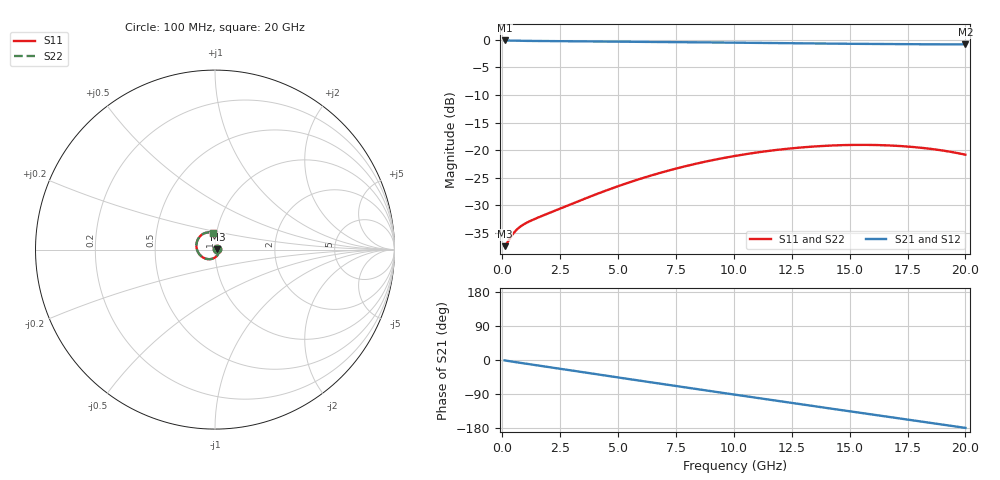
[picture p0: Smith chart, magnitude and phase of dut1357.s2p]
! Touchstone file exported from HFSS 2026.1.0
!  File:  C:/ffzhzh/LocalFiles/Ansys_Project_Files/temp_train_TSV_RDL_1357_1783341718_38820.aedt
!  Generated:  08:50:04 PM Jul  6, 2026
!  Design:  TSV_RDL
!  Project:  temp_train_TSV_RDL_1357_1783341718_38820
! Variables:
!  h_bsmrdl = 3.15um
!  h_ox = 20um
!  h_rdl = 5um
!  h_sub = 76.59um
!  h_tmrdl = 3.28um
!  h_tsv = 76.59um
!  h_via = 3um
!  l_bsmrdl = 568.16um
!  l_sub = 2821.97um
!  l_tmrdl = 148.75um
!  m_sub = 200um
!  pitch = 27.86um
!  r_tsv = 10.72um
!  s_tmrdl = 10um
!  w_bsmrdl = 24.53um
!  w_sub = 500um
!  w_tmrdl = 16.3um
!  x_tsv_center1 = 156.9um
!  x_tsv_center2 = 749.59um
!  x_tsv_center3 = 914.64um
!  x_tsv_center4 = 1507.33um
!  x_tsv_center5 = 1672.38um
!  x_tsv_center6 = 2265.07um
# GHz S MA R 50.000000
! Terminal data exported
! Port[1] = TM_RDL1_1_T1
! Port[2] = TM_RDL5_1_T1
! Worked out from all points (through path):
!   200 points, 100 MHz to 20 GHz, reference 50 ohm
!   highest |S21| = -0.12 dB at 100 MHz (marker M1); lowest = -0.8 dB at 20 GHz (marker M2)
!   group delay of S21, straight-line fit = 24.8 ps
!   lowest |S11| = -37.4 dB at 100 MHz (marker M3), VSWR 1.03, Z = 51.4 + j0.13 ohm
!   |S11| at or under -10 dB: start of sweep to end of sweep
!   |S22| runs from -37.4 to -19.0 dB; largest |S21 - S12| = 2e-13
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0.1  0.01349 5.4  0.9866 -1.0  0.9866 -1.0  0.01349 5.4
! Gamma 0 0 0 0
! Port Impedance 50 0 50 0
0.5  0.01784 4.8  0.9814 -4.9  0.9814 -4.9  0.01786 4.8
0.9  0.02109 -8.8  0.9783 -8.6  0.9783 -8.6  0.0211 -8.8
2.2  0.02789 -45.4  0.9742 -20.4  0.9742 -20.4  0.02788 -45.4
3.5  0.03591 -71.7  0.9703 -32.3  0.9703 -32.3  0.0359 -71.7
5.2  0.04873 -98.8  0.9641 -47.8  0.9641 -47.8  0.04872 -98.8
6  0.05533 -110.0  0.9608 -55.1  0.9608 -55.1  0.05532 -110.1
6.8  0.06211 -120.7  0.9573 -62.3  0.9573 -62.3  0.06209 -120.7
7.7  0.06976 -132.1  0.9532 -70.4  0.9532 -70.4  0.06975 -132.1
8.5  0.07646 -141.8  0.9494 -77.6  0.9494 -77.6  0.07644 -141.9
9.3  0.08292 -151.3  0.9455 -84.8  0.9455 -84.8  0.0829 -151.4
10.1  0.08902 -160.6  0.9417 -92.0  0.9417 -92.0  0.089 -160.6
10.9  0.09463 -169.6  0.9378 -99.1  0.9378 -99.1  0.09461 -169.7
11.7  0.09964 -178.5  0.9341 -106.2  0.9341 -106.2  0.09961 -178.5
12.5  0.1039 172.8  0.9304 -113.3  0.9304 -113.3  0.1039 172.8
13.4  0.1077 163.2  0.9266 -121.2  0.9266 -121.2  0.1077 163.2
15.1  0.1115 145.5  0.92 -136.2  0.92 -136.2  0.1115 145.5
16.7  0.1104 129.2  0.9149 -150.2  0.9149 -150.2  0.1103 129.2
17.6  0.1074 120.2  0.9125 -158.1  0.9125 -158.1  0.1074 120.2
18.4  0.1034 112.3  0.9108 -165.1  0.9108 -165.1  0.1034 112.2
19.2  0.0979 104.3  0.9093 -172.1  0.9093 -172.1  0.0979 104.3
20  0.09098 96.4  0.908 -179.2  0.908 -179.2  0.09099 96.4
